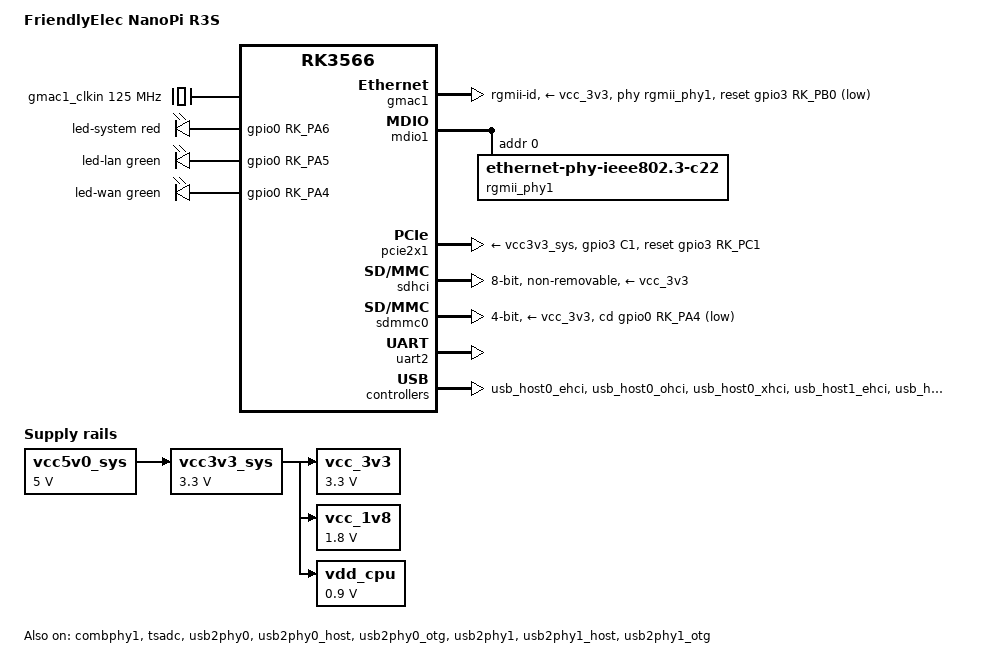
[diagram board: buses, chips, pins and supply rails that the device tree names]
// SPDX-License-Identifier: (GPL-2.0+ OR MIT)

/dts-v1/;

#include <dt-bindings/gpio/gpio.h>
#include <dt-bindings/leds/common.h>
#include <dt-bindings/pinctrl/rockchip.h>
#include "rk3566.dtsi"

/ {
	model = "FriendlyElec NanoPi R3S";
	compatible = "friendlyelec,nanopi-r3s", "rockchip,rk3566";

	aliases {
		ethernet0 = &gmac1;
		mmc0 = &sdhci;
		mmc1 = &sdmmc0;
	};

	chosen {
		stdout-path = "serial2:1500000n8";
	};

	gmac1_clkin: external-gmac1-clock {
		compatible = "fixed-clock";
		clock-frequency = <125000000>;
		clock-output-names = "gmac1_clkin";
		#clock-cells = <0>;
	};

	leds {
		compatible = "gpio-leds";

		led-system {
			color = <LED_COLOR_ID_RED>;
			function = LED_FUNCTION_HEARTBEAT;
			gpios = <&gpio0 RK_PA6 GPIO_ACTIVE_HIGH>;
			linux,default-trigger = "heartbeat";
		};

		led-lan {
			color = <LED_COLOR_ID_GREEN>;
			function = LED_FUNCTION_LAN;
			gpios = <&gpio0 RK_PA5 GPIO_ACTIVE_HIGH>;
			default-state = "off";
		};

		led-wan {
			color = <LED_COLOR_ID_GREEN>;
			function = LED_FUNCTION_WAN;
			gpios = <&gpio0 RK_PA4 GPIO_ACTIVE_HIGH>;
			default-state = "off";
		};
	};

	vcc5v0_sys: regulator-vcc5v0-sys {
		compatible = "regulator-fixed";
		regulator-name = "vcc5v0_sys";
		regulator-always-on;
		regulator-boot-on;
		regulator-min-microvolt = <5000000>;
		regulator-max-microvolt = <5000000>;
	};

	vcc3v3_sys: regulator-vcc3v3-sys {
		compatible = "regulator-fixed";
		regulator-name = "vcc3v3_sys";
		regulator-always-on;
		regulator-boot-on;
		regulator-min-microvolt = <3300000>;
		regulator-max-microvolt = <3300000>;
		vin-supply = <&vcc5v0_sys>;
	};

	vcc_3v3: regulator-vcc-3v3 {
		compatible = "regulator-fixed";
		regulator-name = "vcc_3v3";
		regulator-always-on;
		regulator-boot-on;
		regulator-min-microvolt = <3300000>;
		regulator-max-microvolt = <3300000>;
		vin-supply = <&vcc3v3_sys>;
	};

	vcc_1v8: regulator-vcc-1v8 {
		compatible = "regulator-fixed";
		regulator-name = "vcc_1v8";
		regulator-always-on;
		regulator-boot-on;
		regulator-min-microvolt = <1800000>;
		regulator-max-microvolt = <1800000>;
		vin-supply = <&vcc3v3_sys>;
	};

	vdd_cpu: regulator-vdd-cpu {
		compatible = "regulator-fixed";
		regulator-name = "vdd_cpu";
		regulator-always-on;
		regulator-boot-on;
		regulator-min-microvolt = <900000>;
		regulator-max-microvolt = <900000>;
		vin-supply = <&vcc3v3_sys>;
	};
};

&cpu0 {
	cpu-supply = <&vdd_cpu>;
};

&cpu1 {
	cpu-supply = <&vdd_cpu>;
};

&cpu2 {
	cpu-supply = <&vdd_cpu>;
};

&cpu3 {
	cpu-supply = <&vdd_cpu>;
};

&combphy1 {
	status = "okay";
};

&gmac1 {
	assigned-clocks = <&cru SCLK_GMAC1_RX_TX>,
			  <&cru SCLK_GMAC1_RGMII_SPEED>,
			  <&cru SCLK_GMAC1>;
	assigned-clock-parents = <&cru SCLK_GMAC1_RGMII_SPEED>,
				 <&cru SCLK_GMAC1>,
				 <&gmac1_clkin>;
	clock_in_out = "input";
	phy-supply = <&vcc_3v3>;
	phy-handle = <&rgmii_phy1>;
	phy-mode = "rgmii-id";
	pinctrl-names = "default";
	pinctrl-0 = <&gmac1m0_miim
		     &gmac1m0_tx_bus2
		     &gmac1m0_rx_bus2
		     &gmac1m0_rgmii_clk
		     &gmac1m0_clkinout
		     &gmac1m0_rgmii_bus>;
	snps,reset-gpio = <&gpio3 RK_PB0 GPIO_ACTIVE_LOW>;
	snps,reset-active-low;
	snps,reset-delays-us = <0 20000 100000>;
	tx_delay = <0x4f>;
	rx_delay = <0x24>;
	status = "okay";
};

&mdio1 {
	rgmii_phy1: ethernet-phy@0 {
		compatible = "ethernet-phy-ieee802.3-c22";
		reg = <0>;
	};
};

&pcie2x1 {
	pinctrl-names = "default";
	pinctrl-0 = <&pcie_reset_h>;
	reset-gpios = <&gpio3 RK_PC1 GPIO_ACTIVE_HIGH>;
	vpcie3v3-supply = <&vcc3v3_sys>;
	status = "okay";
};

&pinctrl {
	pcie {
		pcie_reset_h: pcie-reset-h {
			rockchip,pins = <3 RK_PC1 RK_FUNC_GPIO &pcfg_pull_none>;
		};
	};
};

&pmu_io_domains {
	pmuio1-supply = <&vcc3v3_sys>;
	pmuio2-supply = <&vcc3v3_sys>;
	vccio2-supply = <&vcc_1v8>;
	vccio3-supply = <&vcc_3v3>;
	vccio4-supply = <&vcc_1v8>;
	vccio5-supply = <&vcc_3v3>;
	vccio6-supply = <&vcc_1v8>;
	vccio7-supply = <&vcc_3v3>;
	status = "okay";
};

&sdhci {
	bus-width = <8>;
	max-frequency = <200000000>;
	mmc-hs200-1_8v;
	non-removable;
	pinctrl-names = "default";
	pinctrl-0 = <&emmc_bus8 &emmc_clk &emmc_cmd &emmc_datastrobe>;
	vmmc-supply = <&vcc_3v3>;
	vqmmc-supply = <&vcc_1v8>;
	status = "okay";
};

&sdmmc0 {
	bus-width = <4>;
	cap-sd-highspeed;
	cd-gpios = <&gpio0 RK_PA4 GPIO_ACTIVE_LOW>;
	disable-wp;
	pinctrl-names = "default";
	pinctrl-0 = <&sdmmc0_bus4 &sdmmc0_clk &sdmmc0_cmd &sdmmc0_det>;
	vmmc-supply = <&vcc_3v3>;
	vqmmc-supply = <&vcc_3v3>;
	status = "okay";
};

&tsadc {
	rockchip,hw-tshut-mode = <0>;
	rockchip,hw-tshut-polarity = <0>;
	status = "okay";
};

&uart2 {
	status = "okay";
};

&usb2phy0 {
	status = "okay";
};

&usb2phy0_host {
	phy-supply = <&vcc5v0_sys>;
	status = "okay";
};

&usb2phy0_otg {
	phy-supply = <&vcc5v0_sys>;
	status = "okay";
};

&usb2phy1 {
	status = "okay";
};

&usb2phy1_host {
	phy-supply = <&vcc5v0_sys>;
	status = "okay";
};

&usb2phy1_otg {
	phy-supply = <&vcc5v0_sys>;
	status = "okay";
};

&usb_host0_ehci {
	status = "okay";
};

&usb_host0_ohci {
	status = "okay";
};

&usb_host0_xhci {
	status = "okay";
};

&usb_host1_ehci {
	status = "okay";
};

&usb_host1_ohci {
	status = "okay";
};

&usb_host1_xhci {
	status = "okay";
};

&vop {
	status = "disabled";
};
